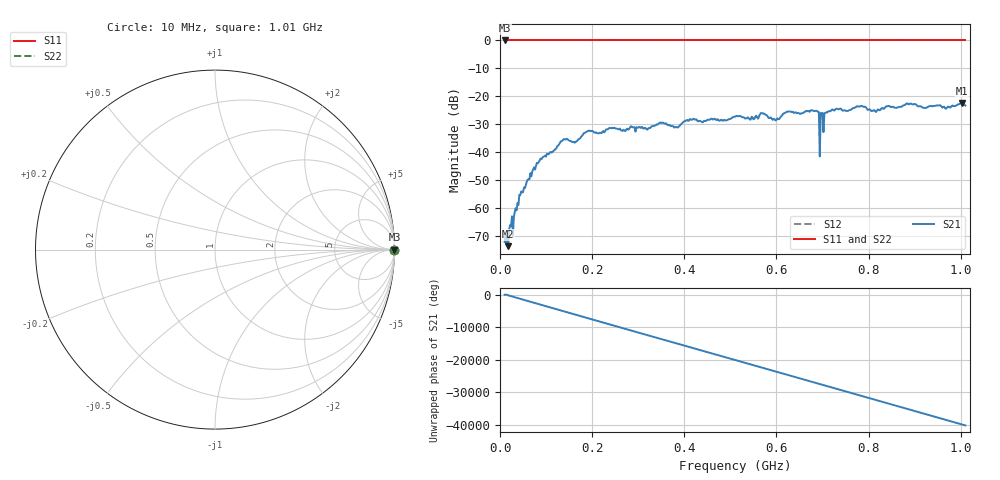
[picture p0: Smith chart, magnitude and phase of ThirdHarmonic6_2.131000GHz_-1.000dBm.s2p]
! 8/17/2025 1:28:05 AM
! C:\ANRITSUVNA\TEMP\TEMP.S2P
! CHANNEL.1
! TR.MEASUREMENT
! RAW.DATA
! RF.CORRECTION.OFF
! AVERAGING.OFF
! IF.BANDWIDTH: 5KHZ
! SWEEPTYPE:  FREQ.SWEEP(Linear)
! Reference Plane Port Info
! PORT:  PORT1  PORT2
! DISTANCE:  0  m  0  m
! TIME:  0  s  0  s
! PHASE.OFFSET:  0  deg.  0  deg.
! LOSS:  0  dB  0  dB
! REF.LOSS:  0  dB  0  dB
! REF.FREQ:  0  Hz  0  Hz
! Power Info
! POWER:  -20  dBm  -20  dBm
! EFF.POWER:  -20  dBm  -20  dBm
! SOURCE.ATTEN:  0  dB  0  dB
! TEST.ATTEN:  0  dB  0  dB
# GHZ S RI R 50.0
! FREQ.GHZ  S11RE  S11IM  S21RE  S21IM  S12RE  S12IM  S22RE  S22IM
!; PortSelection: Port_12
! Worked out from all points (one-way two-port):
!   501 points, 10 MHz to 1.01 GHz, reference 50 ohm
!   highest |S21| = -22.35 dB at 1.002 GHz (marker M1); lowest = -73.5 dB at 18 MHz (marker M2)
!   lowest |S11| = 0.0 dB at 10 MHz (marker M3)
!   |S11| at or under -10 dB: nowhere
!   |S22| runs from 0.0 to 0.0 dB; largest |S21 - S12| = 1.1
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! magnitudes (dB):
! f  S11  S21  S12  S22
! 10 MHz  0.0  -72.0  0.0  0.0
! 18 MHz  0.0  -73.5  0.0  0.0
! 46 MHz  0.0  -53.9  0.0  0.0
! 84 MHz  0.0  -43.5  0.0  0.0
! 136 MHz  0.0  -35.7  0.0  0.0
! 178 MHz  0.0  -34.0  0.0  0.0
! 344 MHz  0.0  -29.8  0.0  0.0
! 382 MHz  0.0  -30.9  0.0  0.0
! 416 MHz  0.0  -28.4  0.0  0.0
! 510 MHz  0.0  -27.2  0.0  0.0
! 570 MHz  0.0  -26.1  0.0  0.0
! 596 MHz  0.0  -28.1  0.0  0.0
! 624 MHz  0.0  -25.4  0.0  0.0
! 678 MHz  0.0  -25.0  0.0  0.0
! 688 MHz  0.0  -25.2  0.0  0.0
! 690 MHz  0.0  -25.5  0.0  0.0
! 698 MHz  0.0  -26.0  0.0  0.0
! 700 MHz  0.0  -25.9  0.0  0.0
! 718 MHz  0.0  -25.1  0.0  0.0
! 844 MHz  0.0  -23.4  0.0  0.0
! 1.002 GHz  0.0  -22.3  0.0  0.0
! 1.01 GHz  0.0  -23.3  0.0  0.0
